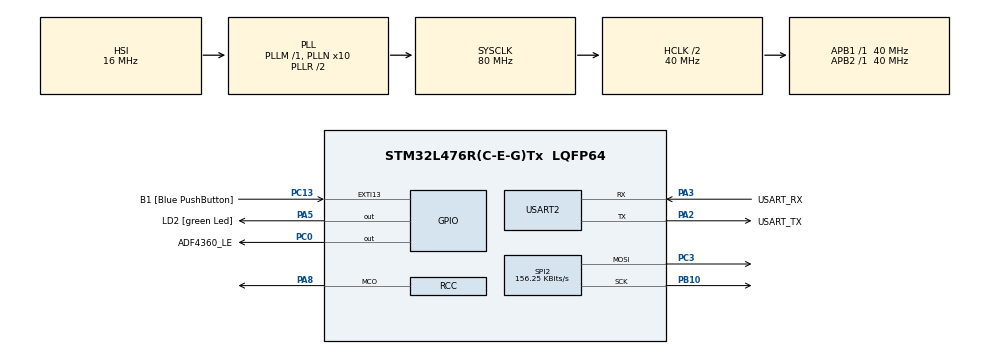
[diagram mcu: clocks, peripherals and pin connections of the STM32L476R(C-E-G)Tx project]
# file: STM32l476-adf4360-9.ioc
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Mcu.Family=STM32L4
Mcu.Name=STM32L476R(C-E-G)Tx
Mcu.Package=LQFP64
NVIC.PriorityGroup=NVIC_PRIORITYGROUP_4
PA13\ (JTMS-SWDIO).GPIO_Label=TMS
PA13\ (JTMS-SWDIO).Mode=Serial_Wire
PA13\ (JTMS-SWDIO).Signal=SYS_JTMS-SWDIO
PA14\ (JTCK-SWCLK).GPIO_Label=TCK
PA14\ (JTCK-SWCLK).Mode=Serial_Wire
PA14\ (JTCK-SWCLK).Signal=SYS_JTCK-SWCLK
PA2.GPIO_Label=USART_TX
PA2.GPIO_Mode=GPIO_MODE_AF_PP
PA2.GPIO_PuPd=GPIO_NOPULL
PA2.GPIO_Speed=GPIO_SPEED_FREQ_VERY_HIGH
PA2.Mode=Asynchronous
PA2.Signal=USART2_TX
PA3.GPIO_Label=USART_RX
PA3.GPIO_Mode=GPIO_MODE_AF_PP
PA3.GPIO_PuPd=GPIO_NOPULL
PA3.GPIO_Speed=GPIO_SPEED_FREQ_VERY_HIGH
PA3.Mode=Asynchronous
PA3.Signal=USART2_RX
PA5.GPIO_Label=LD2 [green Led]
PA5.GPIO_ModeDefaultOutputPP=GPIO_MODE_OUTPUT_PP
PA5.GPIO_PuPd=GPIO_NOPULL
PA5.GPIO_Speed=GPIO_SPEED_FREQ_LOW
PA5.Signal=GPIO_Output
PA8.Mode=Clock-out
PA8.Signal=RCC_MCO
PB10.GPIO_PuPd=GPIO_PULLUP
PB10.Mode=TX_Only_Simplex_Unidirect_Master
PB10.Signal=SPI2_SCK
PB3\ (JTDO-TRACESWO).GPIO_Label=SWO
PB3\ (JTDO-TRACESWO).Signal=SYS_JTDO-SWO
PC0.GPIO_Label=ADF4360_LE
PC0.PinState=GPIO_PIN_SET
PC0.Signal=GPIO_Output
PC13.GPIO_Label=B1 [Blue PushButton]
PC13.GPIO_ModeDefaultEXTI=GPIO_MODE_IT_FALLING
PC13.GPIO_PuPd=GPIO_NOPULL
PC13.Signal=GPXTI13
PC14-OSC32_IN\ (PC14).Mode=LSE-External-Oscillator
PC14-OSC32_IN\ (PC14).Signal=RCC_OSC32_IN
PC15-OSC32_OUT\ (PC15).Mode=LSE-External-Oscillator
PC15-OSC32_OUT\ (PC15).Signal=RCC_OSC32_OUT
PC3.GPIO_PuPd=GPIO_PULLUP
PC3.Mode=TX_Only_Simplex_Unidirect_Master
PC3.Signal=SPI2_MOSI
PH0-OSC_IN\ (PH0).Signal=RCC_OSC_IN
PH1-OSC_OUT\ (PH1).Signal=RCC_OSC_OUT
ProjectManager.HeapSize=0x200
ProjectManager.StackSize=0x400
ProjectManager.TargetToolchain=STM32CubeIDE
RCC.ADCFreq_Value=64000000
RCC.AHBCLKDivider=RCC_SYSCLK_DIV2
RCC.AHBFreq_Value=40000000
RCC.APB1Freq_Value=40000000
RCC.APB1TimFreq_Value=40000000
RCC.APB2Freq_Value=40000000
RCC.APB2TimFreq_Value=40000000
RCC.CortexFreq_Value=40000000
RCC.HCLKFreq_Value=40000000
RCC.HSE_VALUE=8000000
RCC.HSI_VALUE=16000000
RCC.MSI_VALUE=4000000
RCC.PLLN=10
RCC.PLLSourceVirtual=RCC_PLLSOURCE_HSI
RCC.PREFETCH_ENABLE=1
RCC.RCC_MCODiv=RCC_MCODIV_4
RCC.SYSCLKFreq_VALUE=80000000
RCC.SYSCLKSource=RCC_SYSCLKSOURCE_PLLCLK
RCC.USBFreq_Value=64000000
RCC.VCOOutputFreq_Value=160000000
SPI2.BaudRatePrescaler=SPI_BAUDRATEPRESCALER_256
SPI2.CalculateBaudRate=156.25 KBits/s
SPI2.DataSize=SPI_DATASIZE_8BIT
SPI2.Direction=SPI_DIRECTION_2LINES
SPI2.Mode=SPI_MODE_MASTER
SPI2.VirtualType=VM_MASTER
USART2.VirtualMode-Asynchronous=VM_ASYNC
board=NUCLEO-L476RG

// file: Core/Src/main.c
/* USER CODE BEGIN Header */
/**
  ******************************************************************************
  * @file           : main.c
  * @brief          : Main program body
  ******************************************************************************
  * @attention
  *
  * <h2><center>&copy; Copyright (c) 2021 STMicroelectronics.
  * All rights reserved.</center></h2>
  *
  * This software component is licensed by ST under BSD 3-Clause license,
  * the "License"; You may not use this file except in compliance with the
  * License. You may obtain a copy of the License at:
  *                        opensource.org/licenses/BSD-3-Clause
  *
  ******************************************************************************
  */
/* USER CODE END Header */
#include "main.h"

SPI_HandleTypeDef hspi2;

UART_HandleTypeDef huart2;

void SystemClock_Config(void);
static void MX_GPIO_Init(void);
static void MX_USART2_UART_Init(void);
static void MX_SPI2_Init(void);

/* USER CODE BEGIN 0 */

typedef enum
{
	BAND_SELECT_CLOCK_DIVIDER_1=0,
	BAND_SELECT_CLOCK_DIVIDER_2=1,
	BAND_SELECT_CLOCK_DIVIDER_4=2,
	BAND_SELECT_CLOCK_DIVIDER_8=3
} BAND_SELECT_CLOCK_DIVIDER;

typedef enum
{
	THREE_CONSECUTIVE_CYCLES=0,
	FIVE_CONSECUTIVE_CYCLES=1
} LOCK_DETECT_PRECISION;

typedef enum
{
	PULSE_WIDTH_1_3ns=1,
	PULSE_WIDTH_3ns=0,
	PULSE_WIDTH_6=2,
} ANTIBACKLASH_PULSE_WIDTH;

typedef enum
{
	NORMAL_OPERATION=4,
	ASYNCHRONOUS_POWER_DOWN=5,
	SYNCHRONOUS_POWER_DOWN=7
} MODE;

typedef enum
{
	ICP_mA_0_31=0,
	ICP_mA_0_62=1,
	ICP_mA_0_93=2,
	ICP_mA_1_25=3,
	ICP_mA_1_56=4,
	ICP_mA_1_87=5,
	ICP_mA_2_18=6,
	ICP_mA_2_50=7
} ICP_mA;

typedef enum
{
	POWER_MINUS_9dbm=0,
	POWER_MINUS_6dbm=1,
	POWER_MINUS_3dbm=2,
	POWER_0dbm=3
} OUTPUT_POWER_LEVEL;

typedef enum
{
	 MUTE_DISABLE=0,
	 MUTE_ENABLE=1
} MUTE_TIL_LOCK_DETECT;

typedef enum
{
	NORMAL=0,
	THREE_STATE=1
} CHARGE_PUMP_OUTPUT;

typedef enum
{
	NEGATIVE=0,
	POSITIVE=1
} PHASE_DETECTOR_POLARITY;

typedef enum
{
	MUX_DVDD=0,
	MUX_DIGITAL_LOCK_DETECT=1,
	MUX_N_DIVIDER_OUTPUT=2,
	MUX_R_DIVIDER_OUTPUT=4,
	MUX_A_CNTR_2_OUT=5,
	MUX_A_CNTR_OUT=6,
	MUX_DGND=7
} MUX_OUT;

typedef enum
{
	OP_NORMAL=0,
	OP_R_A_B_COUNTERS_HELD_IN_RESET=1
} COUNTER_OPERATION;

typedef enum
{
	CORE_POWER_LEVEL_2_5mA=0,
	CORE_POWER_LEVEL_5_0mA=1,
	CORE_POWER_LEVEL_7_5mA=2,
	CORE_POWER_LEVEL_10_0mA=3
} CORE_POWER_LEVEL;

typedef struct
{
	// R counter Latch
	BAND_SELECT_CLOCK_DIVIDER band_select_clock_devider;
	LOCK_DETECT_PRECISION lock_detect_precision;
	ANTIBACKLASH_PULSE_WIDTH antibacklash_pulse_width;
	uint16_t R_div;
	// N counter latch
	uint16_t B_div;
	uint8_t A_div;
	// Control Latch
	MODE mode;
	ICP_mA Icp_mA;
	OUTPUT_POWER_LEVEL output_power_level;
	MUTE_TIL_LOCK_DETECT mute_til_lock_detect;
	CHARGE_PUMP_OUTPUT charge_pump_output;
	PHASE_DETECTOR_POLARITY phase_detector_polarity;
	MUX_OUT mux_out;
	COUNTER_OPERATION counter_operation;
	CORE_POWER_LEVEL core_power_level;
} ADF4360_9_settings;

/* USER CODE END 0 */

int main(void)
{
  /* USER CODE BEGIN 1 */
  uint8_t Rcounter_Latch[3]={0,0,0};
  uint8_t Control_Latch[3]={0,0,0};
  uint8_t Ncounter_Latch[3]={0,0,0};
  ADF4360_9_settings settings;
  /* USER CODE END 1 */

  /* MCU Configuration--------------------------------------------------------*/

  /* Reset of all peripherals, Initializes the Flash interface and the Systick. */
  HAL_Init();

  /* Configure the system clock */
  SystemClock_Config();

  /* Initialize all configured peripherals */
  MX_GPIO_Init();
  MX_USART2_UART_Init();
  MX_SPI2_Init();
  /* USER CODE BEGIN 2 */

/////////////////////////////////////////////////////////////////////////////////////////////////////////
/////////////////////////////////////////////////////////////////////////////////////////////////////////
//////////////////////////////////////////////////////////////////////////////////////////////////////////
// Заполняем настройки ( выбирать из предложенного )

  /*
	BAND_SELECT_CLOCK_DIVIDER_1
	BAND_SELECT_CLOCK_DIVIDER_2
	BAND_SELECT_CLOCK_DIVIDER_4
	BAND_SELECT_CLOCK_DIVIDER_8
   */
  	settings.band_select_clock_devider 		=     BAND_SELECT_CLOCK_DIVIDER_8 ;
  /*
   	THREE_CONSECUTIVE_CYCLES
	FIVE_CONSECUTIVE_CYCLES
  */
	settings.lock_detect_precision 		=         FIVE_CONSECUTIVE_CYCLES ;
  /*
   	PULSE_WIDTH_1_3ns
	PULSE_WIDTH_3ns
	PULSE_WIDTH_6
   */
	settings.antibacklash_pulse_width 	 =      PULSE_WIDTH_3ns ;
	//  В регистре R counter latch - R делитель (R14-R1) ( число от 1 до 16383 )
    settings.R_div						 =        	 2 ;

	//  В регистре N counter latch - B делитель (B13-B1) ( число от 3 до 8191 )
	settings.B_div                       =        10 ;
	//  В регистре N counter latch - A делитель (A5-A1)  (число от 2 до 31)
	settings.A_div                       =       8 ;

	/*
	NORMAL_OPERATION
	ASYNCHRONOUS_POWER_DOWN
	SYNCHRONOUS_POWER_DOWN
	 */
	settings.mode						= 		NORMAL_OPERATION ;

	/*
	ICP_mA_0_31
	ICP_mA_0_62
	ICP_mA_0_93
	ICP_mA_1_25
	ICP_mA_1_56
	ICP_mA_1_87
	ICP_mA_2_18
	ICP_mA_2_50
	 */
	settings.Icp_mA                     =     	ICP_mA_1_25 ;

	/*

	POWER_MINUS_9dbm
	POWER_MINUS_6dbm
	POWER_MINUS_3dbm
	POWER_0dbm
	 */
	settings.output_power_level			=		POWER_MINUS_9dbm ;

	/*
	 MUTE_DISABLE
	 MUTE_ENABLE
	 */
	settings.mute_til_lock_detect		=		MUTE_DISABLE ;

	/*
	NORMAL
	THREE_STATE
	 */
	settings.charge_pump_output 		=		NORMAL ;

	/*
	NEGATIVE
	POSITIVE
	 */
	settings.phase_detector_polarity	=		NEGATIVE ;

	settings.mux_out 					=		MUX_DVDD ;

	/*
	OP_NORMAL
	OP_R_A_B_COUNTERS_HELD_IN_RESET
	 */
	settings.counter_operation			=		OP_NORMAL ;

	/*
	CORE_POWER_LEVEL_2_5mA
	CORE_POWER_LEVEL_5_0mA
	CORE_POWER_LEVEL_7_5mA
	CORE_POWER_LEVEL_10_0mA
	 */
	settings.core_power_level			=		CORE_POWER_LEVEL_5_0mA ;

////////////////////////////////////////////////////////////////////////////////////////////////////
/////////////////////////////////////////////////////////////////////////////////////////////////
//////////////////////////////////////////////////////////////////////////////////////////////////

  // Ждем пока микруха включится
  HAL_Delay(100); //100 мс

  // Заполняем массивы на отправку
  //R counter Latch
  Rcounter_Latch[0]= (uint8_t)(settings.band_select_clock_devider<<4) | (uint8_t)(settings.lock_detect_precision<<2) | settings.antibacklash_pulse_width;
  Rcounter_Latch[1]= (uint8_t)(settings.R_div>>6);
  Rcounter_Latch[2]= (uint8_t)(settings.R_div<<2) | 0x01;
  //Control Latch
  Control_Latch[0]=(settings.mode<<4) | (settings.Icp_mA>>2);
  Control_Latch[1]= (settings.Icp_mA<<6) | (settings.output_power_level<<4)| (settings.mute_til_lock_detect<<3) | (settings.charge_pump_output<<1) | settings.phase_detector_polarity;
  Control_Latch[2]= (settings.mux_out<<5) | (settings.counter_operation<<4) | (settings.core_power_level<<2);
  //N counter Latch

  Ncounter_Latch[0]= (settings.charge_pump_output<<5) | (uint8_t)(settings.B_div >>8);
  Ncounter_Latch[1]= (uint8_t)settings.B_div;
  Ncounter_Latch[2]= (uint8_t)(settings.A_div<<2) | 0x02; ;

  // Заполняем регистры ADF4360
  HAL_GPIO_WritePin(ADF4360_LE_GPIO_Port, ADF4360_LE_Pin, GPIO_PIN_RESET); // LE on
  // Отправляем по SPI R counter Latch
  HAL_SPI_Transmit(&hspi2,Rcounter_Latch,3,100);
  HAL_GPIO_WritePin(ADF4360_LE_GPIO_Port, ADF4360_LE_Pin, GPIO_PIN_SET); // LE off
  HAL_Delay(15);

  HAL_GPIO_WritePin(ADF4360_LE_GPIO_Port, ADF4360_LE_Pin, GPIO_PIN_RESET); // LE on
  // Отправляем по SPI Control Latch
  HAL_SPI_Transmit(&hspi2,Control_Latch,3,100);
  HAL_GPIO_WritePin(ADF4360_LE_GPIO_Port, ADF4360_LE_Pin, GPIO_PIN_SET); // LE off
  HAL_Delay(15);

  HAL_GPIO_WritePin(ADF4360_LE_GPIO_Port, ADF4360_LE_Pin, GPIO_PIN_RESET); // LE on
  // Отправляем по SPI N counter Latch
  HAL_SPI_Transmit(&hspi2,Ncounter_Latch,3,100);
  HAL_GPIO_WritePin(ADF4360_LE_GPIO_Port, ADF4360_LE_Pin, GPIO_PIN_SET); // LE off
  HAL_Delay(15);

  //  /*-----------------------Старая версия -----------------------------------------------*/
  //  uint8_t data[3];
  //  uint8_t data2[3];
  //  uint8_t data3[3];
  //  // R counter latch
  //   data[0]=0x30;  //старший
  //   data[1]=0x00;  //средний
  //   data[2]=0x29;  //младший
  //
  //   // control latch data
  //   data2[0]=0x4F;
  //   data2[1]=0xF1;
  //   data2[2]=0xC4;
  //
  //   // N counter latch data
  //   data3[0]=0x00;
  //   data3[1]=0x50;
  //   data3[2]=0x2A;
  //
  //  // Заполняем регистры ADF4360
  //  HAL_GPIO_WritePin(ADF4360_LE_GPIO_Port, ADF4360_LE_Pin, GPIO_PIN_RESET); // LE on
  //  // Отправляем по SPI R counter Latch
  ////  HAL_SPI_Transmit(&hspi2,Rcounter_Latch,3,100);
  //  HAL_SPI_Transmit(&hspi2,data,3,10); // отправляем по SPI
  //
  //  HAL_GPIO_WritePin(ADF4360_LE_GPIO_Port, ADF4360_LE_Pin, GPIO_PIN_SET); // LE off
  //  HAL_Delay(15);
  //
  //
  //  HAL_GPIO_WritePin(ADF4360_LE_GPIO_Port, ADF4360_LE_Pin, GPIO_PIN_RESET); // LE on
  //  // Отправляем по SPI Control Latch
  //  //HAL_SPI_Transmit(&hspi2,Control_Latch,3,100);
  //  HAL_SPI_Transmit(&hspi2,data2,3,10); // отправляем по SPI
  //
  //  HAL_GPIO_WritePin(ADF4360_LE_GPIO_Port, ADF4360_LE_Pin, GPIO_PIN_SET); // LE off
  //  HAL_Delay(15);
  //
  //
  //  HAL_GPIO_WritePin(ADF4360_LE_GPIO_Port, ADF4360_LE_Pin, GPIO_PIN_RESET); // LE on
  //  // Отправляем по SPI N counter Latch
  //  //HAL_SPI_Transmit(&hspi2,Ncounter_Latch,3,100);
  //  HAL_SPI_Transmit(&hspi2,data3,3,10); // отправляем по SPI
  //
  //  HAL_GPIO_WritePin(ADF4360_LE_GPIO_Port, ADF4360_LE_Pin, GPIO_PIN_SET); // LE off
  //  HAL_Delay(15);
  //  /*-----------------------Старая версия -----------------------------------------------*/

  /* USER CODE END 2 */

  /* Infinite loop */
  while (1)
  {

  }
}

void SystemClock_Config(void)
{
  RCC_OscInitTypeDef RCC_OscInitStruct = {0};
  RCC_ClkInitTypeDef RCC_ClkInitStruct = {0};
  RCC_PeriphCLKInitTypeDef PeriphClkInit = {0};

  /** Initializes the RCC Oscillators according to the specified parameters
  * in the RCC_OscInitTypeDef structure.
  */
  RCC_OscInitStruct.OscillatorType = RCC_OSCILLATORTYPE_HSI;
  RCC_OscInitStruct.HSIState = RCC_HSI_ON;
  RCC_OscInitStruct.HSICalibrationValue = RCC_HSICALIBRATION_DEFAULT;
  RCC_OscInitStruct.PLL.PLLState = RCC_PLL_ON;
  RCC_OscInitStruct.PLL.PLLSource = RCC_PLLSOURCE_HSI;
  RCC_OscInitStruct.PLL.PLLM = 1;
  RCC_OscInitStruct.PLL.PLLN = 10;
  RCC_OscInitStruct.PLL.PLLP = RCC_PLLP_DIV7;
  RCC_OscInitStruct.PLL.PLLQ = RCC_PLLQ_DIV2;
  RCC_OscInitStruct.PLL.PLLR = RCC_PLLR_DIV2;
  if (HAL_RCC_OscConfig(&RCC_OscInitStruct) != HAL_OK)
  {
    Error_Handler();
  }
  /** Initializes the CPU, AHB and APB buses clocks
  */
  RCC_ClkInitStruct.ClockType = RCC_CLOCKTYPE_HCLK|RCC_CLOCKTYPE_SYSCLK
                              |RCC_CLOCKTYPE_PCLK1|RCC_CLOCKTYPE_PCLK2;
  RCC_ClkInitStruct.SYSCLKSource = RCC_SYSCLKSOURCE_PLLCLK;
  RCC_ClkInitStruct.AHBCLKDivider = RCC_SYSCLK_DIV2;
  RCC_ClkInitStruct.APB1CLKDivider = RCC_HCLK_DIV1;
  RCC_ClkInitStruct.APB2CLKDivider = RCC_HCLK_DIV1;

  if (HAL_RCC_ClockConfig(&RCC_ClkInitStruct, FLASH_LATENCY_2) != HAL_OK)
  {
    Error_Handler();
  }
  PeriphClkInit.PeriphClockSelection = RCC_PERIPHCLK_USART2;
  PeriphClkInit.Usart2ClockSelection = RCC_USART2CLKSOURCE_PCLK1;
  if (HAL_RCCEx_PeriphCLKConfig(&PeriphClkInit) != HAL_OK)
  {
    Error_Handler();
  }
  HAL_RCC_MCOConfig(RCC_MCO1, RCC_MCO1SOURCE_SYSCLK, RCC_MCODIV_4);
  /** Configure the main internal regulator output voltage
  */
  if (HAL_PWREx_ControlVoltageScaling(PWR_REGULATOR_VOLTAGE_SCALE1) != HAL_OK)
  {
    Error_Handler();
  }
}

static void MX_SPI2_Init(void)
{

  /* SPI2 parameter configuration*/
  hspi2.Instance = SPI2;
  hspi2.Init.Mode = SPI_MODE_MASTER;
  hspi2.Init.Direction = SPI_DIRECTION_2LINES;
  hspi2.Init.DataSize = SPI_DATASIZE_8BIT;
  hspi2.Init.CLKPolarity = SPI_POLARITY_LOW;
  hspi2.Init.CLKPhase = SPI_PHASE_1EDGE;
  hspi2.Init.NSS = SPI_NSS_SOFT;
  hspi2.Init.BaudRatePrescaler = SPI_BAUDRATEPRESCALER_256;
  hspi2.Init.FirstBit = SPI_FIRSTBIT_MSB;
  hspi2.Init.TIMode = SPI_TIMODE_DISABLE;
  hspi2.Init.CRCCalculation = SPI_CRCCALCULATION_DISABLE;
  hspi2.Init.CRCPolynomial = 7;
  hspi2.Init.CRCLength = SPI_CRC_LENGTH_DATASIZE;
  hspi2.Init.NSSPMode = SPI_NSS_PULSE_ENABLE;
  if (HAL_SPI_Init(&hspi2) != HAL_OK)
  {
    Error_Handler();
  }

}

static void MX_USART2_UART_Init(void)
{

  huart2.Instance = USART2;
  huart2.Init.BaudRate = 115200;
  huart2.Init.WordLength = UART_WORDLENGTH_8B;
  huart2.Init.StopBits = UART_STOPBITS_1;
  huart2.Init.Parity = UART_PARITY_NONE;
  huart2.Init.Mode = UART_MODE_TX_RX;
  huart2.Init.HwFlowCtl = UART_HWCONTROL_NONE;
  huart2.Init.OverSampling = UART_OVERSAMPLING_16;
  huart2.Init.OneBitSampling = UART_ONE_BIT_SAMPLE_DISABLE;
  huart2.AdvancedInit.AdvFeatureInit = UART_ADVFEATURE_NO_INIT;
  if (HAL_UART_Init(&huart2) != HAL_OK)
  {
    Error_Handler();
  }

}

static void MX_GPIO_Init(void)
{
  GPIO_InitTypeDef GPIO_InitStruct = {0};

  /* GPIO Ports Clock Enable */
  __HAL_RCC_GPIOC_CLK_ENABLE();
  __HAL_RCC_GPIOH_CLK_ENABLE();
  __HAL_RCC_GPIOA_CLK_ENABLE();
  __HAL_RCC_GPIOB_CLK_ENABLE();

  /*Configure GPIO pin Output Level */
  HAL_GPIO_WritePin(ADF4360_LE_GPIO_Port, ADF4360_LE_Pin, GPIO_PIN_SET);

  /*Configure GPIO pin Output Level */
  HAL_GPIO_WritePin(LD2_GPIO_Port, LD2_Pin, GPIO_PIN_RESET);

  /*Configure GPIO pin : B1_Pin */
  GPIO_InitStruct.Pin = B1_Pin;
  GPIO_InitStruct.Mode = GPIO_MODE_IT_FALLING;
  GPIO_InitStruct.Pull = GPIO_NOPULL;
  HAL_GPIO_Init(B1_GPIO_Port, &GPIO_InitStruct);

  /*Configure GPIO pin : ADF4360_LE_Pin */
  GPIO_InitStruct.Pin = ADF4360_LE_Pin;
  GPIO_InitStruct.Mode = GPIO_MODE_OUTPUT_PP;
  GPIO_InitStruct.Pull = GPIO_NOPULL;
  GPIO_InitStruct.Speed = GPIO_SPEED_FREQ_LOW;
  HAL_GPIO_Init(ADF4360_LE_GPIO_Port, &GPIO_InitStruct);

  /*Configure GPIO pin : LD2_Pin */
  GPIO_InitStruct.Pin = LD2_Pin;
  GPIO_InitStruct.Mode = GPIO_MODE_OUTPUT_PP;
  GPIO_InitStruct.Pull = GPIO_NOPULL;
  GPIO_InitStruct.Speed = GPIO_SPEED_FREQ_LOW;
  HAL_GPIO_Init(LD2_GPIO_Port, &GPIO_InitStruct);

  /*Configure GPIO pin : PA8 */
  GPIO_InitStruct.Pin = GPIO_PIN_8;
  GPIO_InitStruct.Mode = GPIO_MODE_AF_PP;
  GPIO_InitStruct.Pull = GPIO_NOPULL;
  GPIO_InitStruct.Speed = GPIO_SPEED_FREQ_LOW;
  GPIO_InitStruct.Alternate = GPIO_AF0_MCO;
  HAL_GPIO_Init(GPIOA, &GPIO_InitStruct);

}

void Error_Handler(void)
{
  __disable_irq();
  while (1)
  {
  }
}

/************************ (C) COPYRIGHT STMicroelectronics *****END OF FILE****/
